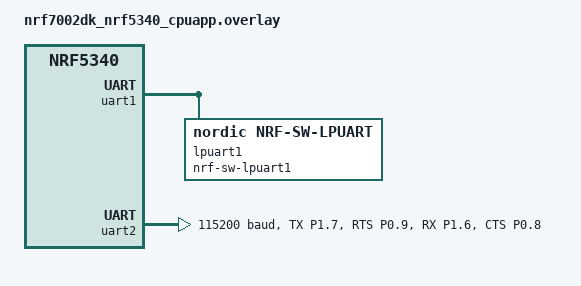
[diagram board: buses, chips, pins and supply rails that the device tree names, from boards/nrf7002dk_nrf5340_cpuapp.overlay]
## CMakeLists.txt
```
#
# Copyright (c) 2025 Nordic Semiconductor ASA
#
# SPDX-License-Identifier: LicenseRef-Nordic-5-Clause
#

cmake_minimum_required(VERSION 3.20.0)

find_package(Zephyr REQUIRED HINTS $ENV{ZEPHYR_BASE})
project(zbus_uart_forwarder)


zephyr_library_include_directories(
    src
)

target_sources(app PRIVATE src/main.c)
```

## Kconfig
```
#
# Copyright (c) 2025 Nordic Semiconductor ASA
#
# SPDX-License-Identifier: LicenseRef-Nordic-5-Clause
#

source "Kconfig.zephyr"
```

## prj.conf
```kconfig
# Copyright (c) 2025 Nordic Semiconductor ASA
# SPDX-License-Identifier: LicenseRef-Nordic-5-Clause


CONFIG_LOG=y
CONFIG_LOG_MODE_MINIMAL=y

CONFIG_SERIAL=y
CONFIG_UART_ASYNC_API=y
CONFIG_UART_LOG_LEVEL_DBG=y

CONFIG_UART_1_NRF_ASYNC_LOW_POWER=y
CONFIG_UART_2_NRF_ASYNC_LOW_POWER=y

CONFIG_ZBUS=y
CONFIG_ZBUS_CHANNEL_NAME=y
CONFIG_ZBUS_OBSERVER_NAME=y
CONFIG_ZBUS_RUNTIME_OBSERVERS=y
CONFIG_ZBUS_MSG_SUBSCRIBER=y

CONFIG_ZBUS_MULTIDOMAIN=y
CONFIG_ZBUS_MULTIDOMAIN_UART=y
# CONFIG_ZBUS_MULTIDOMAIN_LOG_LEVEL_DBG=y
```

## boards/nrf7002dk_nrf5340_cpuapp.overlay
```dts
&uart1 {
    status = "okay";
    /delete-property/ hw-flow-control;
	lpuart1: nrf-sw-lpuart1 {
		compatible = "nordic,nrf-sw-lpuart";
		status = "okay";
		req-pin = <36>;	/* 1.4 */
		rsp-pin = <37>; /* 1.5 */
	};
};

&uart2 {
	compatible = "nordic,nrf-uarte";
    status = "okay";
	current-speed = <115200>;
	pinctrl-0 = <&uart2_default>;
	pinctrl-1 = <&uart2_sleep>;
	pinctrl-names = "default", "sleep";
    /delete-property/ hw-flow-control;
};

&pinctrl {
	uart2_default: uart2_default {
		group1 {
			psels = <NRF_PSEL(UART_TX, 1, 7)>,
				<NRF_PSEL(UART_RTS, 0, 9)>;
		};

		group2 {
			psels = <NRF_PSEL(UART_RX, 1, 6)>,
				<NRF_PSEL(UART_CTS, 0, 8)>;
			bias-pull-up;
		};
	};

	uart2_sleep: uart2_sleep {
		group1 {
			psels = <NRF_PSEL(UART_TX, 1, 7)>,
				<NRF_PSEL(UART_RX, 1, 6)>,
				<NRF_PSEL(UART_RTS, 0, 9)>,
				<NRF_PSEL(UART_CTS, 0, 8)>;
			low-power-enable;
		};
	};
};
```

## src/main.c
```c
#include <zephyr/kernel.h>
#include <zephyr/device.h>
#include <zephyr/drivers/uart.h>
#include <zephyr/logging/log.h>

#include <zephyr/zbus/zbus.h>
#include <zephyr/zbus/zbus_multidomain_uart.h>

LOG_MODULE_REGISTER(main, LOG_LEVEL_DBG);

#define UART_RX_TIMEOUT 10000

struct test_data {
	int count;
	char message[32];
};

/* Outgoing ZBUS channel, connected to UART1 */
ZBUS_CHAN_DEFINE(uart1_channel, struct test_data, NULL, NULL, ZBUS_OBSERVERS_EMPTY,
		 ZBUS_MSG_INIT(0));

ZBUS_CHAN_DEFINE(extra_channel, struct test_data, NULL, NULL, ZBUS_OBSERVERS_EMPTY,
		 ZBUS_MSG_INIT(0));

static void uart_forwarder_listener_cb(const struct zbus_channel *chan)
{
	const struct test_data *data = zbus_chan_const_msg(chan);
	LOG_INF("Received message on channel %s from domain %s: message='%s' (count=%d)",
		chan->name, zbus_chan_msg_domain(chan), data->message, data->count);
}

ZBUS_LISTENER_DEFINE(uart_forwarder_listener, uart_forwarder_listener_cb);
ZBUS_CHAN_ADD_OBS(uart1_channel, uart_forwarder_listener, 0);
ZBUS_CHAN_ADD_OBS(extra_channel, uart_forwarder_listener, 0);

/* Setup forwarders for both channels */
ZBUS_MULTIDOMAIN_DEFINE_FORWARDER_UART(uart1_forwarder, uart1);

/* Normally this would be on another device, but for testing we send it to ourself */
ZBUS_MULTIDOMAIN_DEFINE_FORWARDER_UART(uart2_forwarder, uart2);	

/* Add forwarder observers to the channels */
ZBUS_MULTIDOMAIN_FORWARDER_UART_ADD_CHANNEL(uart1_forwarder, uart1_channel);
ZBUS_MULTIDOMAIN_FORWARDER_UART_ADD_CHANNEL(uart1_forwarder, extra_channel);

void generate_test_string(char *buffer, size_t size)
{
	static int counter = 0;
	int len = snprintf(buffer, size, "Test message %d from %s :", counter++, CONFIG_BOARD_QUALIFIERS);
	
	/* Generate a random string of characters */
	for (int i = len; i < size - 1; i++) {
		buffer[i] = 'A' + (i % 26); // Fill with A-Z characters
	}
	buffer[size - 1] = '\0'; // Null-terminate the string
}

int main(void)
{

	int ret;

	LOG_INF("%s started", CONFIG_BOARD_TARGET);

	struct test_data data = {
		.count = 0,
	};
	snprintf(data.message, sizeof(data.message), "Hello from %s", CONFIG_BOARD_QUALIFIERS);
	// generate_test_string(data.message, sizeof(data.message));

	/* Periodically publish messages to the ZBUS channel */
	while (1) {
		ret = zbus_chan_pub(&uart1_channel, &data, K_MSEC(100));
		if (ret < 0) {
			LOG_ERR("Failed to publish on channel %s: %d", uart1_channel.name, ret);
		} else {
			LOG_INF("Published on channel %s: count=%d, message='%s'",
				uart1_channel.name, data.count, data.message);
		}
		k_sleep(K_MSEC(10)); // Small delay between messages
		ret = zbus_chan_pub(&extra_channel, &data, K_MSEC(100));
		if (ret < 0) {
			LOG_ERR("Failed to publish on channel %s: %d", extra_channel.name, ret);
		} else {
			LOG_INF("Published on channel %s: count=%d, message='%s'",
				extra_channel.name, data.count, data.message);
		}

		data.count++;
		k_sleep(K_SECONDS(5));
	}
	return 0;
}
```
